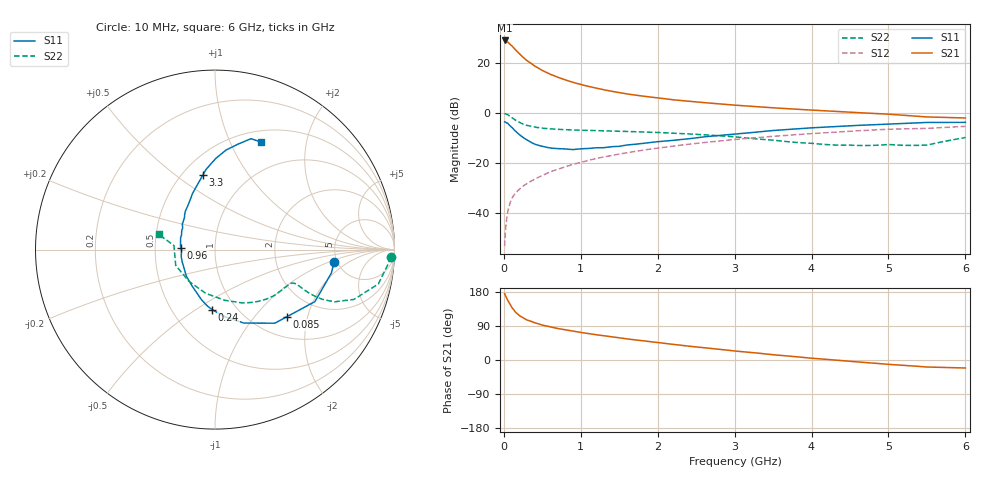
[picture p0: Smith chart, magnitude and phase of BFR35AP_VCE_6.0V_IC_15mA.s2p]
! Infineon Technologies  Discrete & RF Semiconductors
! BFR35AP
! VCE =  6.0 V,  IC =  15 mA
! Common Emitter S-Parameters:  Nov 2015
# GHz  S  MA  R  50
!  f  S11  S21  S12  S22
! GHz  MAG  ANG  MAG  ANG  MAG  ANG  MAG  ANG
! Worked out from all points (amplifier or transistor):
!   210 points, 10 MHz to 6 GHz, reference 50 ohm
!   highest |S21| = 29.0 dB at 10 MHz (marker M1)
!   |S21| within 3 dB of that: start of sweep to 129.1 MHz
!   unconditionally stable (mu >= 1): 490.1 MHz to 2.919 GHz
!   at 185 MHz: K = 0.65, MSG = 27.5 dB, |S12| = -30.9 dB
!   at 1.52 GHz: K = 1.09, MAG = 10.3 dB, |S12| = -16.3 dB
!   at 6 GHz: K = 0.91, MSG = 1.7 dB, |S12| = -5.3 dB
!   S11 on the Smith chart (normalised r, x): 10 MHz: 4.71, -1.14; 85 MHz: 1.40, -1.50; 240 MHz: 0.78, -0.58; 960 MHz: 0.68, +0.01; 3.3 GHz: 0.63, +0.63; 6 GHz: 0.63, +1.32
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0.01  0.6668 -5.8  28.17 174.8  0.0022 90.9  0.9806 -2.4
0.02  0.6615 -11.4  27.75 170.1  0.0043 80.3  0.9664 -5.0
0.05  0.6275 -27.5  26.28 157.4  0.0106 77.9  0.9299 -11.9
0.085  0.5478 -43.1  23.32 145.6  0.0167 71.4  0.8522 -17.2
0.1  0.5284 -50.9  22.41 139.7  0.0194 69.9  0.8214 -19.8
0.15  0.4395 -68.6  18.4 126.4  0.0252 65.9  0.7244 -23.7
0.2  0.3736 -82.8  15.33 117.5  0.0299 65.0  0.6537 -24.9
0.24  0.3342 -92.8  13.43 112.2  0.0338 64.9  0.6123 -25.0
0.26  0.3185 -97.3  12.61 109.7  0.0357 65.1  0.5951 -24.9
0.3  0.2908 -104.7  11.18 105.6  0.0391 65.9  0.5673 -24.7
0.4  0.2401 -121.9  8.718 98.3  0.0478 66.7  0.525 -23.8
0.5  0.2175 -137.4  7.085 92.1  0.0567 67.9  0.4991 -23.1
0.7  0.1954 -159.3  5.197 83.1  0.0755 68.7  0.4737 -23.2
0.96  0.1902 177.1  3.866 74.1  0.1002 68.0  0.457 -24.9
1.02  0.1938 172.4  3.654 72.1  0.1058 67.9  0.4543 -25.5
1.4  0.2136 150.2  2.72 61.2  0.1418 65.7  0.4393 -30.2
2.02  0.27 127.6  1.98 45.7  0.2016 60.1  0.4087 -40.3
3.1  0.3914 102.7  1.404 22.0  0.3057 48.1  0.3239 -65.4
3.3  0.4192 99.4  1.335 18.2  0.3241 45.6  0.3036 -71.8
4.1  0.5171 88.3  1.124 3.2  0.3978 35.9  0.2408 -107.0
5.1  0.6117 76.3  0.926 -12.8  0.4788 22.0  0.2304 -163.4
6  0.6518 66.7  0.798 -21.1  0.5427 11.5  0.3248 164.9
